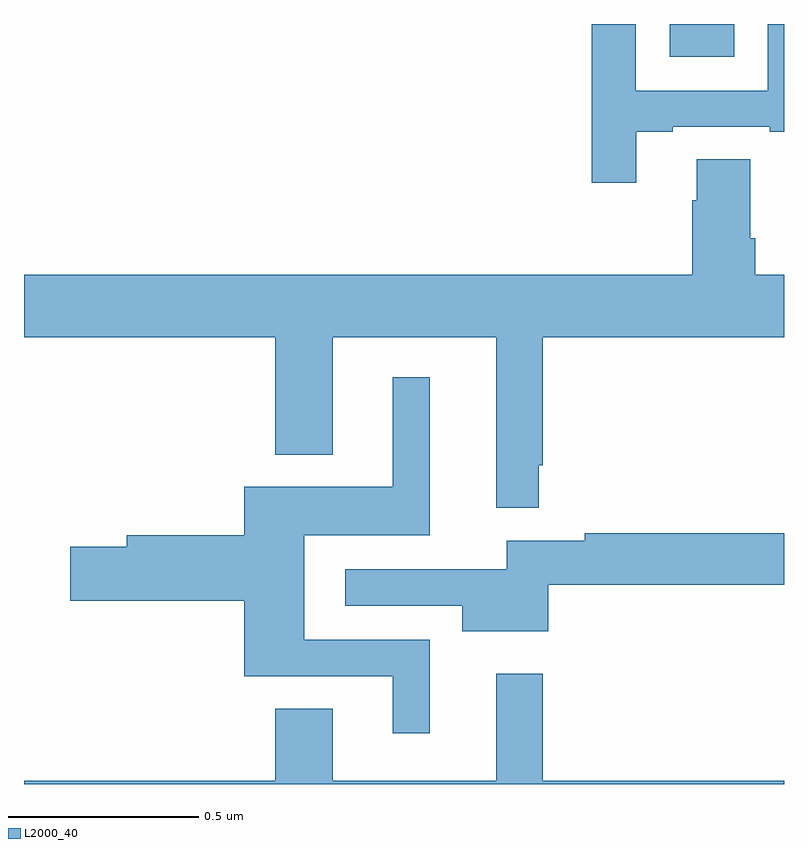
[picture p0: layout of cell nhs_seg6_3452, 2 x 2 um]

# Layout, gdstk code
import gdstk
lib = gdstk.Library(unit=1e-6, precision=1e-09)
def R(c, l, rs):  # rectangles x0, y0, x1, y1
    for r in rs: c.add(gdstk.rectangle(r[:2], r[2:], *l))
def P(c, l, *ps):  # polygons
    for p in ps: c.add(gdstk.Polygon(p, *l))
L2000_40 = (2000, 40)

nhs_seg6_3452 = lib.new_cell('nhs_seg6_3452')
R(nhs_seg6_3452, L2000_40, [(158.699,941.414,158.869,941.5)])
P(nhs_seg6_3452, L2000_40, [(158.611,941.217),(158.707,941.217),(158.707,941.229),(158.963,941.229),(158.963,941.217),(159,941.217),(159,941.5),(158.957,941.5),(158.957,941.325),(158.61,941.325),(158.61,941.5),(158.494,941.5),(158.494,941.082),(158.611,941.082)],
  [(158.354,940.339),(158.365,940.339),(158.365,940.676),(159,940.676),(159,940.84),(158.924,940.84),(158.924,940.936),(158.911,940.936),(158.911,941.144),(158.771,941.144),(158.771,941.036),(158.759,941.036),(158.759,940.84),(157,940.84),(157,940.676),(157.661,940.676),(157.661,940.367),(157.813,940.367),(157.813,940.676),(158.243,940.676),(158.243,940.227),(158.354,940.227)],
  [(158.068,939.879),(157.738,939.879),(157.738,940.154),(158.068,940.154),(158.068,940.57),(157.97,940.57),(157.97,940.282),(157.58,940.282),(157.58,940.154),(157.271,940.154),(157.271,940.124),(157.122,940.124),(157.122,939.982),(157.58,939.982),(157.58,939.783),(157.97,939.783),(157.97,939.633),(158.068,939.633)],
  [(158.38,940.024),(159,940.024),(159,940.16),(158.476,940.16),(158.476,940.14),(158.27,940.14),(158.27,940.065),(157.845,940.065),(157.845,939.969),(158.153,939.969),(158.153,939.902),(158.38,939.902)],
  [(159,939.508),(158.365,939.508),(158.365,939.79),(158.243,939.79),(158.243,939.508),(157.813,939.508),(157.813,939.698),(157.661,939.698),(157.661,939.508),(157,939.508),(157,939.5),(159,939.5)])

lib.write_gds('nhs_seg6_3452.gds')
